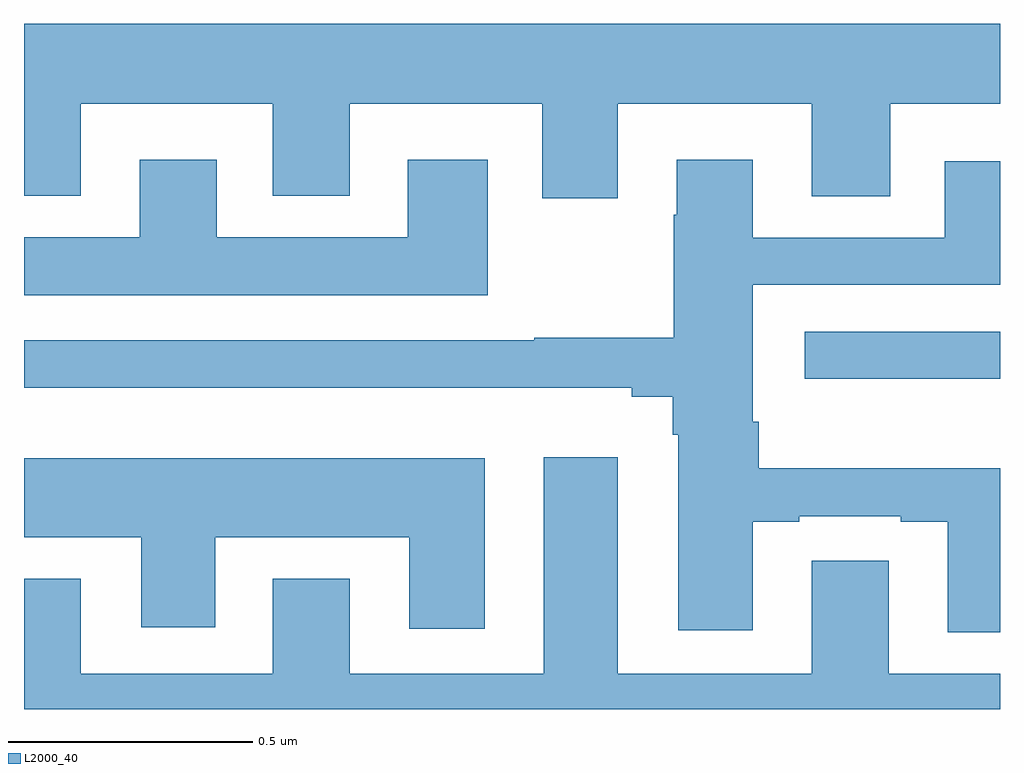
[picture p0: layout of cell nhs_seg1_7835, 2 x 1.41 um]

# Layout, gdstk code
import gdstk
lib = gdstk.Library(unit=1e-6, precision=1e-09)
def R(c, l, rs):  # rectangles x0, y0, x1, y1
    for r in rs: c.add(gdstk.rectangle(r[:2], r[2:], *l))
def P(c, l, *ps):  # polygons
    for p in ps: c.add(gdstk.Polygon(p, *l))
L2000_40 = (2000, 40)

nhs_seg1_7835 = lib.new_cell('nhs_seg1_7835')
R(nhs_seg1_7835, L2000_40, [(210.6,509.876,211,509.973)])
P(nhs_seg1_7835, L2000_40, [(210.217,510.44),(210.614,510.44),(210.614,510.25),(210.775,510.25),(210.775,510.44),(211,510.44),(211,510.604),(209,510.604),(209,510.251),(209.116,510.251),(209.116,510.44),(209.51,510.44),(209.51,510.251),(209.668,510.251),(209.668,510.44),(210.062,510.44),(210.062,510.246),(210.217,510.246)],
  [(209.95,510.325),(209.786,510.325),(209.786,510.166),(209.395,510.166),(209.395,510.325),(209.237,510.325),(209.237,510.166),(209,510.166),(209,510.047),(209.95,510.047)],
  [(211,509.693),(210.506,509.693),(210.506,509.788),(210.493,509.788),(210.493,510.069),(211,510.069),(211,510.322),(210.887,510.322),(210.887,510.165),(210.493,510.165),(210.493,510.325),(210.338,510.325),(210.338,510.212),(210.331,510.212),(210.331,509.96),(210.046,509.96),(210.046,509.955),(209,509.955),(209,509.858),(210.245,509.858),(210.245,509.839),(210.329,509.839),(210.329,509.762),(210.341,509.762),(210.341,509.361),(210.493,509.361),(210.493,509.583),(210.589,509.583),(210.589,509.595),(210.797,509.595),(210.797,509.583),(210.893,509.583),(210.893,509.357),(211,509.357)],
  [(211,509.272),(210.772,509.272),(210.772,509.503),(210.614,509.503),(210.614,509.272),(210.217,509.272),(210.217,509.716),(210.065,509.716),(210.065,509.272),(209.668,509.272),(209.668,509.467),(209.51,509.467),(209.51,509.272),(209.116,509.272),(209.116,509.467),(209,509.467),(209,509.199),(211,509.199)],
  [(209.944,509.713),(209,509.713),(209,509.552),(209.24,509.552),(209.24,509.367),(209.392,509.367),(209.392,509.552),(209.789,509.552),(209.789,509.364),(209.944,509.364)])

lib.write_gds('nhs_seg1_7835.gds')
